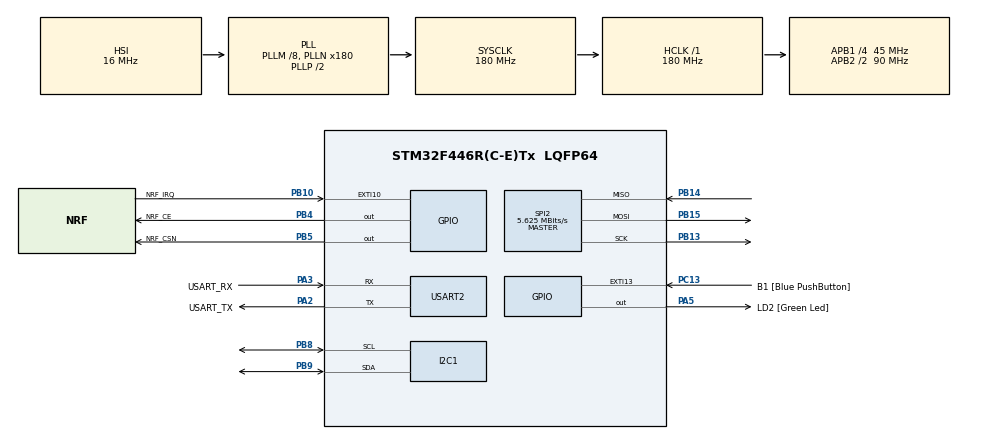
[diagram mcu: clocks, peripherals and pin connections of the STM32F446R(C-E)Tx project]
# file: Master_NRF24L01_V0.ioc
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Mcu.Family=STM32F4
Mcu.Name=STM32F446R(C-E)Tx
Mcu.Package=LQFP64
NVIC.PriorityGroup=NVIC_PRIORITYGROUP_0
NVIC.SPI2_IRQn=true\:0\:0\:false\:false\:true\:true\:true\:true
PA13.GPIO_Label=TMS
PA13.Mode=Serial_Wire
PA13.Signal=SYS_JTMS-SWDIO
PA14.GPIO_Label=TCK
PA14.Mode=Serial_Wire
PA14.Signal=SYS_JTCK-SWCLK
PA2.GPIO_Label=USART_TX
PA2.Mode=Asynchronous
PA2.Signal=USART2_TX
PA3.GPIO_Label=USART_RX
PA3.Mode=Asynchronous
PA3.Signal=USART2_RX
PA5.GPIO_Label=LD2 [Green Led]
PA5.Signal=GPIO_Output
PB10.GPIO_Label=NRF_IRQ
PB10.GPIO_PuPd=GPIO_NOPULL
PB10.Signal=GPXTI10
PB13.Mode=Full_Duplex_Master
PB13.Signal=SPI2_SCK
PB14.Mode=Full_Duplex_Master
PB14.Signal=SPI2_MISO
PB15.Mode=Full_Duplex_Master
PB15.Signal=SPI2_MOSI
PB3.GPIO_Label=SWO
PB3.Signal=SYS_JTDO-SWO
PB4.GPIO_Label=NRF_CE
PB4.Signal=GPIO_Output
PB5.GPIO_Label=NRF_CSN
PB5.Signal=GPIO_Output
PB8.Mode=I2C
PB8.Signal=I2C1_SCL
PB9.Mode=I2C
PB9.Signal=I2C1_SDA
PC13.GPIO_Label=B1 [Blue PushButton]
PC13.GPIO_ModeDefaultEXTI=GPIO_MODE_IT_FALLING
PC13.Signal=GPXTI13
PC14-OSC32_IN.Mode=LSE-External-Oscillator
PC14-OSC32_IN.Signal=RCC_OSC32_IN
PC15-OSC32_OUT.Mode=LSE-External-Oscillator
PC15-OSC32_OUT.Signal=RCC_OSC32_OUT
PH0-OSC_IN.Mode=HSE-External-Oscillator
PH0-OSC_IN.Signal=RCC_OSC_IN
PH1-OSC_OUT.Mode=HSE-External-Oscillator
PH1-OSC_OUT.Signal=RCC_OSC_OUT
ProjectManager.HeapSize=0x200
ProjectManager.StackSize=0x400
ProjectManager.TargetToolchain=STM32CubeIDE
RCC.48MHZClocksFreq_Value=84000000
RCC.AHBFreq_Value=180000000
RCC.APB1CLKDivider=RCC_HCLK_DIV4
RCC.APB1Freq_Value=45000000
RCC.APB1TimFreq_Value=90000000
RCC.APB2CLKDivider=RCC_HCLK_DIV2
RCC.APB2Freq_Value=90000000
RCC.APB2TimFreq_Value=180000000
RCC.CortexFreq_Value=180000000
RCC.FLatency-AdvancedSettings=FLASH_LATENCY_5
RCC.HCLKFreq_Value=180000000
RCC.HSE_VALUE=8000000
RCC.HSI_VALUE=16000000
RCC.PLLM=8
RCC.PLLN=180
RCC.SYSCLKFreq_VALUE=180000000
RCC.SYSCLKSource=RCC_SYSCLKSOURCE_PLLCLK
RCC.USBFreq_Value=180000000
RCC.VCOOutputFreq_Value=360000000
SPI2.BaudRatePrescaler=SPI_BAUDRATEPRESCALER_8
SPI2.CalculateBaudRate=5.625 MBits/s
SPI2.Direction=SPI_DIRECTION_2LINES
SPI2.Mode=SPI_MODE_MASTER
SPI2.VirtualType=VM_MASTER
USART2.VirtualMode=VM_ASYNC
board=NUCLEO-F446RE

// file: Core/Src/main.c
/* USER CODE BEGIN Header */
/**
 ******************************************************************************
 * @file           : main.c
 * @brief          : Main program body
 ******************************************************************************
 * @attention
 *
 * Copyright (c) 2024 STMicroelectronics.
 * All rights reserved.
 *
 * This software is licensed under terms that can be found in the LICENSE file
 * in the root directory of this software component.
 * If no LICENSE file comes with this software, it is provided AS-IS.
 *
 ******************************************************************************
 */
/* USER CODE END Header */
#include "main.h"
#include "i2c.h"
#include "spi.h"
#include "usart.h"
#include "gpio.h"

/* USER CODE BEGIN Includes */

#include "MY_NRF24.h"
#include "stdio.h"
#include <string.h>

/* USER CODE END Includes */

void SystemClock_Config(void);

/* USER CODE BEGIN 0 */

// Define the transmission pipe address
uint64_t TxpipeAddrs = 0x11223344AA;

// Define the receiving pipe address
uint64_t RxpipeAddrs = 0x112233447A;

// Define an array to store transmission data with an initial value "SEND"
char myTxData[32] = "SEND To My Data";

// Define an array to store acknowledgment payload
char AckPayload[32];

// Define an array to store received data
char myRxData[32];

// Define an acknowledgment payload with an initial value "Ack by Master !!"
char myAckPayload[32] = "Ack by Master !!";

int count = 0;

// Function to configure NRF24 module for transmit mode without acknowledgment
void Tx_Mode(void) {
	// Print information about entering transmit mode without acknowledgment
//	printf("________________________Tx Mode________________________ \n\r");

	// Stop listening for incoming data
	NRF24_stopListening();

	// Set writing pipe address to TxpipeAddrs
	NRF24_openWritingPipe(TxpipeAddrs);

	// Enable auto acknowledgment
	NRF24_setAutoAck(true);

	// Set channel to 52
	NRF24_setChannel(52);

	// Set payload size to 32 bytes
	NRF24_setPayloadSize(32);

	// Enable dynamic payloads
	NRF24_enableDynamicPayloads();

	// Enable acknowledgment payloads
	NRF24_enableAckPayload();

	HAL_GPIO_WritePin(GPIOA, GPIO_PIN_5, RESET);
}

/*
 * Function: Send_Data
 * Description: Sends data using NRF24 module and waits for acknowledgment from Node 1.
 * Parameters: None
 * Returns: bool - Indicates whether data was sent successfully or not
 */
bool Send_Data(void) {
	// Variable to track the status of data transmission
	bool send_stat = false;

	// Attempt to write data to NRF24 module
	if (NRF24_write(myTxData, 32)) {
		// If data is successfully written, read acknowledgment payload
		NRF24_read(AckPayload, 32);
		char myDataack[80];
		sprintf(myDataack, "AckPayload:  %s \r\n", AckPayload);
		printf("%s \r\n", myDataack);
		send_stat = true;
		// // Check if acknowledgment payload matches the expected acknowledgment
		// if (strcmp(AckPayload, AckPayload) == 0) {
		// 	// If acknowledgment matches, data request was completed successfully
		// 	printf("%s \r\n", AckPayload);
		// 	printf("The data request was completed successfully\r\n");
		// 	send_stat = true;
		// } else {
		// 	// If acknowledgment doesn't match, indicate failure
		// 	printf("No AckPayload from Node 1\r\n");
		// 	send_stat = false;
		// }
	}

	// Delay before returning to avoid immediate retries
	HAL_Delay(50);

	// Return the status of data transmission
	return send_stat;
}

// Function to configure NRF24 module for receiving mode without acknowledgment
void Rx_Mode(void) {
	// Print information about changing settings to receiver mode with acknowledgment
	//printf("________________________Rx Mode________________________ \n\r");

	// Enable auto acknowledgment
	NRF24_setAutoAck(true);

	// Set channel to 52
	NRF24_setChannel(52);

	// Set payload size to 32 bytes
	NRF24_setPayloadSize(32);

	// Open reading pipe with address RxpipeAddrs
	NRF24_openReadingPipe(1, RxpipeAddrs);

	// Enable dynamic payloads
	NRF24_enableDynamicPayloads();

	// Enable acknowledgment payloads
	NRF24_enableAckPayload();

	// Start listening for incoming data
	NRF24_startListening();

	HAL_GPIO_WritePin(GPIOA, GPIO_PIN_5, SET);
}

/*
 * Function: Receive_Data
 * Description: Receives data from Node 1 using NRF24 module.
 * Parameters: None
 * Returns: bool - Indicates whether data was received successfully or not
 */
bool Receive_Data(void) {
	// Variable to track the status of data reception
	bool receive_stat = false;

	// Check if there is data available to read
	if (NRF24_available()) {
		// Read data from NRF24 module
		NRF24_read(myRxData, 32);

		// Send acknowledgment payload to Node 1
		NRF24_writeAckPayload(1, myAckPayload, 32);

		count++;
		// Print the received data
		printf("%s : %d\r\n", myRxData, count);

		// Set receive_stat to true to indicate successful data reception
		receive_stat = true;
	}

	// Delay for 10 milliseconds before returning to avoid immediate retries
	HAL_Delay(10);

	// Return the status of data reception
	return receive_stat;
}

/* USER CODE END 0 */

int main(void) {

	/* MCU Configuration--------------------------------------------------------*/

	/* Reset of all peripherals, Initializes the Flash interface and the Systick. */
	HAL_Init();

	/* Configure the system clock */
	SystemClock_Config();

	/* Initialize all configured peripherals */
	MX_GPIO_Init();
	MX_USART2_UART_Init();
	MX_I2C1_Init();
	MX_SPI2_Init();
	/* USER CODE BEGIN 2 */
	// Initialize NRF24 module
	NRF24_Init();

	// Print information about entering transmit mode without acknowledgment
	printf("//**** TRANSMIT - ACK ****//   \n\r");
	printf(
			"________________________After change Setting________________________ \n\r");

	// Configure NRF24 module for transmit mode without acknowledgment
	Tx_Mode();

	// Print current radio settings
	printRadioSettings();

	/* USER CODE END 2 */

	/* Infinite loop */
	/* USER CODE BEGIN WHILE */
	while (1) {

		/*
		 * Description: This block of code manages the data transmission and reception process.
		 *              It attempts to send data using the Send_Data function and then switches to
		 *              receive mode to listen for acknowledgment from Node 1. If the acknowledgment
		 *              is received successfully, it switches back to transmit mode.
		 */

		// Check if data transmission was successful
		if (Send_Data()) {
		    // Switch NRF24 module to receive mode
		    Rx_Mode();

		    // Print a message indicating that receive mode is activated
		    //printf("Rx Mode is Activated\r\n");

		    // Loop indefinitely until acknowledgment is received or a timeout occurs
		    int coun = 0;
		    while (coun < 5) {
				coun++;
		        // Check if data is received successfully
		        if (Receive_Data()) {
		            // Switch NRF24 module back to transmit mode
		            Tx_Mode();

		           coun++; // Print a message indicating that transmit mode is activated
//		            printf("Tx Mode is Activated\r\n");

		            // Delay for 1000 milliseconds before breaking out of the loop
		            HAL_Delay(500);

		            // Exit the loop
		            break;
		        }else if (coun == 5)
				{
		        	// Switch NRF24 module back to transmit mode
					Tx_Mode();
				}

		        // If data reception fails, wait for a short period before retrying
		        HAL_Delay(50);

		    }
		} else {
		    // If data transmission fails, print a failure message
//		    printf("The data request Failed\r\n");

		    // Delay for 1000 milliseconds before continuing
		    HAL_Delay(500);
		}

		/* USER CODE END WHILE */

	}
}

void SystemClock_Config(void) {
	RCC_OscInitTypeDef RCC_OscInitStruct = { 0 };
	RCC_ClkInitTypeDef RCC_ClkInitStruct = { 0 };

	/** Configure the main internal regulator output voltage
	 */
	__HAL_RCC_PWR_CLK_ENABLE();
	__HAL_PWR_VOLTAGESCALING_CONFIG(PWR_REGULATOR_VOLTAGE_SCALE1);

	/** Initializes the RCC Oscillators according to the specified parameters
	 * in the RCC_OscInitTypeDef structure.
	 */
	RCC_OscInitStruct.OscillatorType = RCC_OSCILLATORTYPE_HSI;
	RCC_OscInitStruct.HSIState = RCC_HSI_ON;
	RCC_OscInitStruct.HSICalibrationValue = RCC_HSICALIBRATION_DEFAULT;
	RCC_OscInitStruct.PLL.PLLState = RCC_PLL_ON;
	RCC_OscInitStruct.PLL.PLLSource = RCC_PLLSOURCE_HSI;
	RCC_OscInitStruct.PLL.PLLM = 8;
	RCC_OscInitStruct.PLL.PLLN = 180;
	RCC_OscInitStruct.PLL.PLLP = RCC_PLLP_DIV2;
	RCC_OscInitStruct.PLL.PLLQ = 2;
	RCC_OscInitStruct.PLL.PLLR = 2;
	if (HAL_RCC_OscConfig(&RCC_OscInitStruct) != HAL_OK) {
		Error_Handler();
	}

	/** Activate the Over-Drive mode
	 */
	if (HAL_PWREx_EnableOverDrive() != HAL_OK) {
		Error_Handler();
	}

	/** Initializes the CPU, AHB and APB buses clocks
	 */
	RCC_ClkInitStruct.ClockType = RCC_CLOCKTYPE_HCLK | RCC_CLOCKTYPE_SYSCLK
			| RCC_CLOCKTYPE_PCLK1 | RCC_CLOCKTYPE_PCLK2;
	RCC_ClkInitStruct.SYSCLKSource = RCC_SYSCLKSOURCE_PLLCLK;
	RCC_ClkInitStruct.AHBCLKDivider = RCC_SYSCLK_DIV1;
	RCC_ClkInitStruct.APB1CLKDivider = RCC_HCLK_DIV4;
	RCC_ClkInitStruct.APB2CLKDivider = RCC_HCLK_DIV2;

	if (HAL_RCC_ClockConfig(&RCC_ClkInitStruct, FLASH_LATENCY_5) != HAL_OK) {
		Error_Handler();
	}
}

void Error_Handler(void) {
	__disable_irq();
	while (1) {
	}
}
